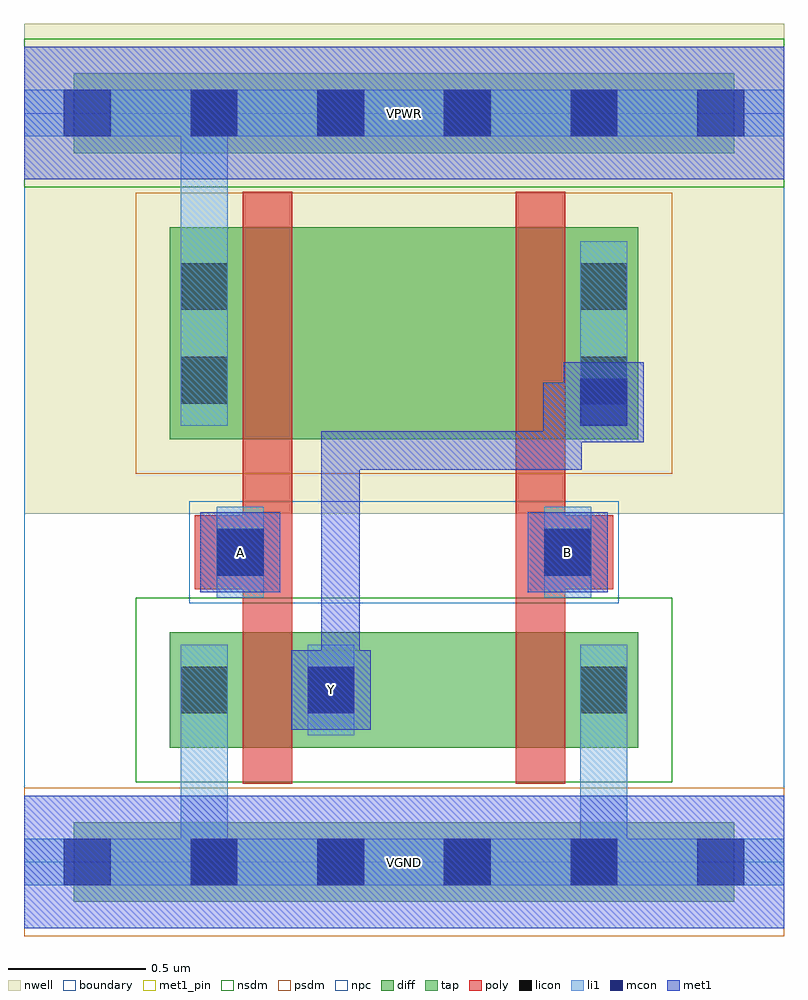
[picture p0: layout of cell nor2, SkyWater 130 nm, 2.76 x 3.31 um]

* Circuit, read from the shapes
.subckt nor2 A B VGND VPWR Y
XM1 Y A VGND VGND sky130_fd_pr__nfet_01v8 w=0.42 l=0.18
XM2 VGND B Y VGND sky130_fd_pr__nfet_01v8 w=0.42 l=0.18
XM3 n1 A VPWR VPWR sky130_fd_pr__pfet_01v8 w=0.77 l=0.18
XM4 Y B n1 VPWR sky130_fd_pr__pfet_01v8 w=0.77 l=0.18
.ends

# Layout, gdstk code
import gdstk
lib = gdstk.Library(unit=1e-6, precision=1e-09)
def R(c, l, rs):  # rectangles x0, y0, x1, y1
    for r in rs: c.add(gdstk.rectangle(r[:2], r[2:], *l))
def A(c, l, x, y, w, h, nx, ny, dx, dy):  # array of equal rectangles
    R(c, l, [(x+i*dx, y+j*dy, x+i*dx+w, y+j*dy+h) for i in range(nx) for j in range(ny)])
nwell = (64, 20)
diff = (65, 20)
tap = (65, 44)
poly = (66, 20)
licon = (66, 44)
li1 = (67, 20)
mcon = (67, 44)
met1_pin = (68, 16)
met1 = (68, 20)
nsdm = (93, 44)
psdm = (94, 20)
npc = (95, 20)
boundary = (235, 4)

nor2 = lib.new_cell('nor2')
R(nor2, nwell, [(0,1.265,2.76,3.045)])
R(nor2, diff, [(0.53,0.415,2.23,0.835), (0.53,1.535,2.23,2.305)])
R(nor2, tap, [(0.18,-0.145,2.58,0.145), (0.18,2.575,2.58,2.865)])
R(nor2, poly, [(0.795,0.285,0.975,2.435), (1.785,0.285,1.965,2.435), (0.62,0.99,0.95,1.26), (1.81,0.99,2.14,1.26)])
A(nor2, licon, 0.605, -0.085, 0.17, 0.17, 4, 2, 0.46, 2.72)
R(nor2, licon, [(0.57,0.54,0.74,0.71), (1.03,0.54,1.2,0.71), (2.02,0.54,2.19,0.71), (0.7,1.04,0.87,1.21), (1.89,1.04,2.06,1.21), (0.57,1.665,0.74,1.835), (2.02,1.665,2.19,1.835), (0.57,2.005,0.74,2.175), (2.02,2.005,2.19,2.175)])
R(nor2, li1, [(0,-0.085,2.76,0.085), (0.57,-0.085,0.74,0.79), (2.02,-0.085,2.19,0.79), (0.57,0.46,0.74,0.79), (1.03,0.46,1.2,0.79), (2.02,0.46,2.19,0.79), (0.7,0.96,0.87,1.29), (1.89,0.96,2.06,1.29), (0.57,1.585,0.74,2.255), (0.57,1.585,0.74,2.805), (2.02,1.585,2.19,2.255), (0,2.635,2.76,2.805)])
A(nor2, mcon, 0.145, -0.085, 0.17, 0.17, 6, 2, 0.46, 2.72)
R(nor2, mcon, [(1.03,0.54,1.2,0.71), (0.7,1.04,0.87,1.21), (1.89,1.04,2.06,1.21), (2.02,1.585,2.19,1.755)])
R(nor2, met1_pin, [(0,-0.24,2.76,0.24), (0.97,0.48,1.26,0.77), (0.64,0.98,0.93,1.27), (1.83,0.98,2.12,1.27), (0,2.48,2.76,2.96)])
R(nor2, met1, [(0,-0.24,2.76,0.24), (0.97,0.48,1.26,0.77), (1.08,0.62,1.22,0.76), (1.08,0.62,1.22,1.565), (0.64,0.98,0.93,1.27), (1.83,0.98,2.12,1.27), (1.08,1.425,2.025,1.565), (1.885,1.425,2.025,1.74), (1.96,1.525,2.25,1.815), (1.885,1.565,2.025,1.6), (1.885,1.565,2.025,1.6), (1.885,1.565,2.025,1.6), (1.885,1.565,2.025,1.6), (1.885,1.565,2.025,1.6), (1.885,1.565,2.025,1.6), (1.885,1.6,2.175,1.74), (0,2.48,2.76,2.96)])
R(nor2, nsdm, [(0.405,0.29,2.355,0.96), (0,2.45,2.76,2.99)])
R(nor2, psdm, [(0,-0.27,2.76,0.27), (0.405,1.41,2.355,2.43)])
R(nor2, npc, [(0.6,0.94,2.16,1.31)])
R(nor2, boundary, [(0,0,2.76,2.72)])
nor2.add(gdstk.Label('A', (0.785,1.125), layer=68, texttype=5))
nor2.add(gdstk.Label('B', (1.975,1.125), layer=68, texttype=5))
nor2.add(gdstk.Label('Y', (1.115,0.625), layer=68, texttype=5))
nor2.add(gdstk.Label('VPWR', (1.38,2.72), layer=68, texttype=5))
nor2.add(gdstk.Label('VGND', (1.38,0), layer=68, texttype=5))
nor2.add(gdstk.Label('A', (0.785,1.125), layer=68, texttype=16))
nor2.add(gdstk.Label('B', (1.975,1.125), layer=68, texttype=16))
nor2.add(gdstk.Label('Y', (1.115,0.625), layer=68, texttype=16))
nor2.add(gdstk.Label('VPWR', (1.38,2.72), layer=68, texttype=16))
nor2.add(gdstk.Label('VGND', (1.38,0), layer=68, texttype=16))

lib.write_gds('nor2.gds')
